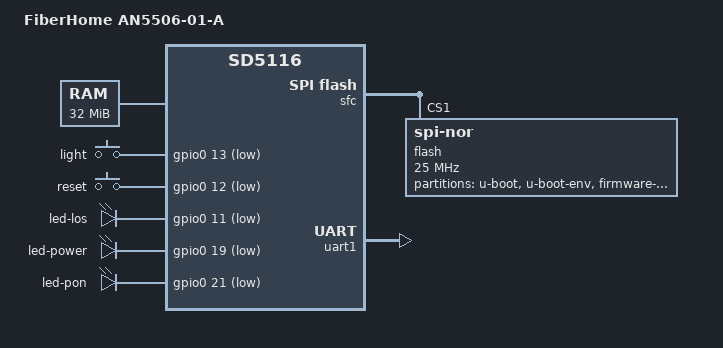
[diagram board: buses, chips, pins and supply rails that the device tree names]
// SPDX-License-Identifier: GPL-2.0-or-later OR MIT
/*
 * FiberHome AN5506-01-A GPON ONU
 *
 * Copyright (c) 2026 Mario Moura <mm@mariomoura.com>
 */

/dts-v1/;

#include <dt-bindings/gpio/gpio.h>
#include <dt-bindings/input/input.h>
#include <dt-bindings/leds/common.h>

#include "sd5116.dtsi"

/ {
	model = "FiberHome AN5506-01-A";
	compatible = "fiberhome,an5506-01a", "hisilicon,sd5116";

	aliases {
		serial1 = &uart1;
	};

	chosen {
		stdout-path = "serial1:115200n8";
	};

	memory@80000000 {
		device_type = "memory";
		reg = <0x80000000 0x2000000>;
	};

	keys {
		compatible = "gpio-keys-polled";
		poll-interval = <100>;

		button-light {
			label = "light";
			linux,code = <KEY_LIGHTS_TOGGLE>;
			gpios = <&gpio0 13 GPIO_ACTIVE_LOW>;
		};

		button-reset {
			label = "reset";
			linux,code = <KEY_RESTART>;
			gpios = <&gpio0 12 GPIO_ACTIVE_LOW>;
		};
	};

	leds {
		compatible = "gpio-leds";

		led-los {
			function = "los";
			gpios = <&gpio0 11 GPIO_ACTIVE_LOW>;
		};

		led-power {
			function = LED_FUNCTION_POWER;
			gpios = <&gpio0 19 GPIO_ACTIVE_LOW>;
			default-state = "on";
		};

		led-pon {
			function = "pon";
			gpios = <&gpio0 21 GPIO_ACTIVE_LOW>;
		};
	};
};

&sfc {
	status = "okay";

	flash@1 {
		compatible = "jedec,spi-nor";
		reg = <1>;
		spi-max-frequency = <25000000>;

		partitions {
			compatible = "fixed-partitions";
			#address-cells = <1>;
			#size-cells = <1>;

			partition@0 {
				label = "u-boot";
				reg = <0x0 0x40000>;
				read-only;
			};

			partition@40000 {
				label = "u-boot-env";
				reg = <0x40000 0x40000>;
			};

			partition@80000 {
				label = "firmware-a";
				reg = <0x80000 0x400000>;
			};

			partition@480000 {
				label = "firmware-b";
				reg = <0x480000 0x400000>;
			};

			partition@880000 {
				label = "data";
				reg = <0x880000 0x780000>;
			};
		};
	};
};

&uart1 {
	status = "okay";
};
